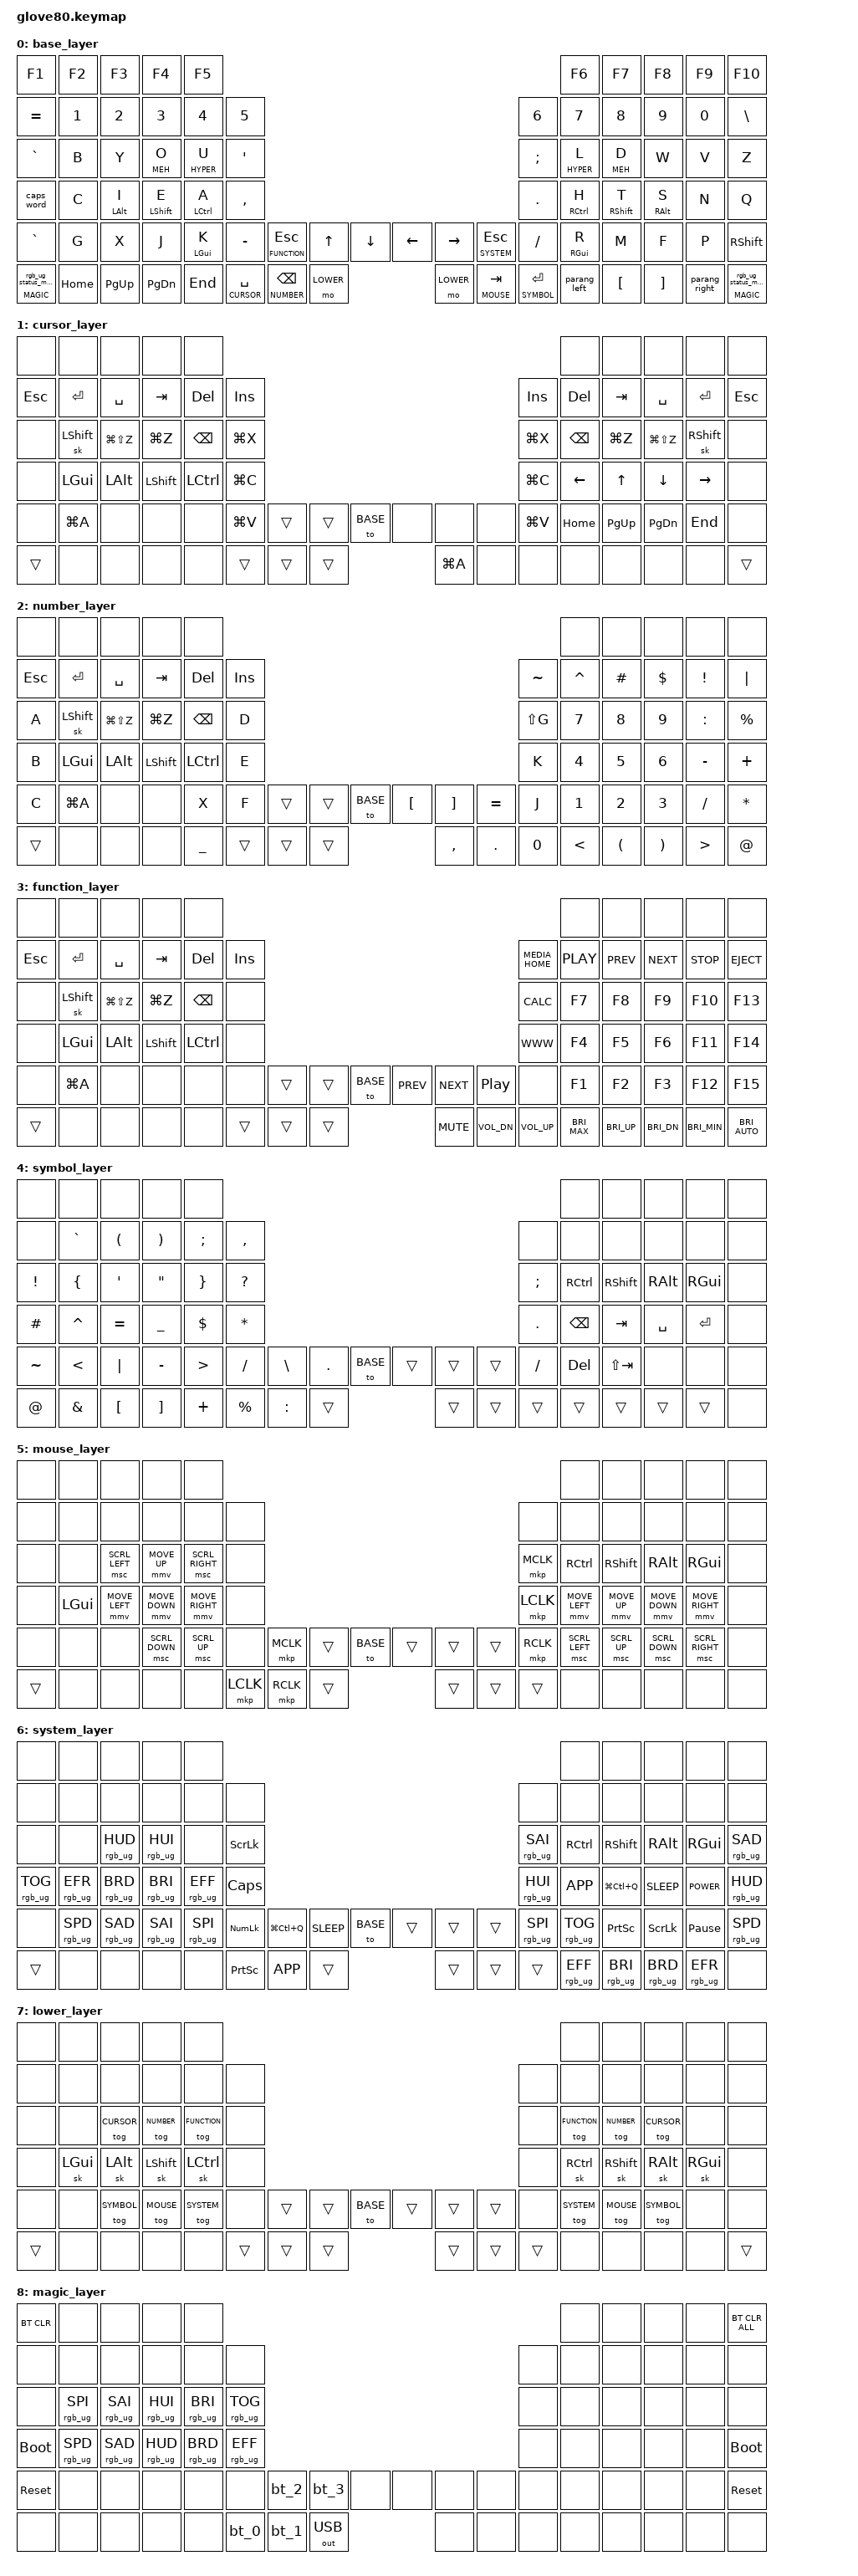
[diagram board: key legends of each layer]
#include <behaviors.dtsi>
#include <dt-bindings/zmk/keys.h>
#include <dt-bindings/zmk/bt.h>
#include <dt-bindings/zmk/ext_power.h>
#include <dt-bindings/zmk/outputs.h>
#include <dt-bindings/zmk/rgb.h>

// =============================================================================
// MOUSE KEY CONFIGURATION
// Requires ZMK with mouse key support (PR23 beta firmware)
// =============================================================================
#if __has_include(<dt-bindings/zmk/mouse.h>)
  #include <dt-bindings/zmk/mouse.h>
  #define ZMK_MOUSE_DEFAULT_MOVE_VAL 600
  #define ZMK_MOUSE_DEFAULT_SCRL_VAL 10
  #define HAS_MOUSE_KEYS 1
#else
  #define mkp none
  #define mmv none
  #define msc none
  #define LCLK
  #define MCLK
  #define RCLK
  #define MOVE_UP
  #define MOVE_DOWN
  #define MOVE_LEFT
  #define MOVE_RIGHT
  #define SCRL_UP
  #define SCRL_DOWN
  #define SCRL_LEFT
  #define SCRL_RIGHT
  #define HAS_MOUSE_KEYS 0
#endif

// =============================================================================
// MODIFIER COMBINATIONS - Swap these to change modifier chords
// =============================================================================
#define HYPER LC(LS(LG(LALT)))  // All four modifiers
#define MEH LC(LS(LALT))        // Ctrl+Shift+Alt (no GUI)

// =============================================================================
// MACOS SHORTCUTS
// =============================================================================
#define _UNDO   LG(Z)
#define _REDO   LG(LS(Z))
#define _CUT    LG(X)
#define _COPY   LG(C)
#define _PASTE  LG(V)
#define _SELALL LG(A)

// =============================================================================
// LAYERS - Reorder by changing numbers
// =============================================================================
#define BASE 0
#define CURSOR 1    // hold SPACE - navigation on right hand
#define NUMBER 2    // hold BSPC - numpad on right hand
#define FUNCTION 3  // hold ESC - F-keys, media
#define SYMBOL 4    // hold RETURN - symbols on left hand
#define MOUSE 5     // hold TAB - mouse keys on right hand
#define SYSTEM 6    // hold SYSTEM - RGB, power
#define LOWER 7     // layer access
#define MAGIC 8     // BT, bootloader

// Legacy aliases for compatibility
#define NAV CURSOR
#define SYM SYMBOL

// =============================================================================
// HOME ROW MODS - Swap modifiers by finger position
// Left hand:  ring -> index (I E A), pinky is plain
// Right hand: index -> ring (H T S), pinky is plain
// Cmd moved to below home row (K, R) to reduce pinky strain
// =============================================================================
#define HRM_L_RING  LALT        // I
#define HRM_L_MID   LSHFT       // E
#define HRM_L_INDEX LCTRL       // A

#define HRM_R_INDEX RCTRL       // H
#define HRM_R_MID   RSHFT       // T
#define HRM_R_RING  RALT        // S

// =============================================================================
// TOP ROW MODS - Above home row, hold for modifier
// Left hand:  pinky -> index (B Y O U)
// Right hand: index -> pinky (L D W V)
// Priority: protect pinkies and ring fingers, put most-used on index
// =============================================================================
#define TOP_L_PINKY NONE        // B - no mod (protect pinky)
#define TOP_L_RING  NONE        // Y - no mod (protect ring)
#define TOP_L_MID   MEH         // O - Meh (Ctrl+Shift+Alt) - less common
#define TOP_L_INDEX HYPER       // U - Hyper (Ctrl+Shift+Alt+Cmd) - most common

#define TOP_R_INDEX HYPER       // L - Hyper (Ctrl+Shift+Alt+Cmd) - most common
#define TOP_R_MID   MEH         // D - Meh (Ctrl+Shift+Alt) - less common
#define TOP_R_RING  NONE        // W - no mod (protect ring)
#define TOP_R_PINKY NONE        // V - no mod (protect pinky)

// =============================================================================
// THUMB CLUSTERS - Keycaps and layer assignments
// Left:  ESC UP DOWN    |  Right: LEFT RIGHT SYS
//        SPC BSP LOWER  |         RAISE TAB RET
// =============================================================================
// Upper arc - tap keys
#define THUMB_UL1_TAP ESC       // Left upper 1 - tap ESC
#define THUMB_UL1_HOLD FUNCTION // Left upper 1 - hold Function
#define THUMB_UL2 UP            // Left upper 2 - plain UP
#define THUMB_UL3 DOWN          // Left upper 3 - plain DOWN
#define THUMB_UR1 LEFT          // Right upper 1 - plain LEFT
#define THUMB_UR2 RIGHT         // Right upper 2 - plain RIGHT
#define THUMB_UR3_TAP ESC       // Right upper 3 - tap ESC
#define THUMB_UR3_HOLD SYSTEM   // Right upper 3 - hold System

// Lower arc - tap keys and layer holds
#define THUMB_LL1_TAP SPACE     // Left lower 1 - tap SPACE
#define THUMB_LL1_HOLD CURSOR   // Left lower 1 - hold Cursor
#define THUMB_LL2_TAP BSPC      // Left lower 2 - tap BSPC
#define THUMB_LL2_HOLD NUMBER   // Left lower 2 - hold Number
#define THUMB_LL3 LOWER         // Left lower 3 - Lower layer access
#define THUMB_LR1 LOWER         // Right lower 1 - Raise (same as Lower)
#define THUMB_LR2_TAP TAB       // Right lower 2 - tap TAB
#define THUMB_LR2_HOLD MOUSE    // Right lower 2 - hold Mouse
#define THUMB_LR3_TAP RET       // Right lower 3 - tap RETURN
#define THUMB_LR3_HOLD SYMBOL   // Right lower 3 - hold Symbol

// =============================================================================
// KEY POSITION INDICES - For positional hold-tap and combos
// Run `just keypos` to regenerate position defines from SVG
// =============================================================================
#define KEYS_L 0 1 2 3 4 10 11 12 13 14 15 22 23 24 25 26 27 34 35 36 37 38 39 46 47 48 49 50 51 52 53 54 64 65 66 67 68 69 70 71
#define KEYS_R 5 6 7 8 9 16 17 18 19 20 21 28 29 30 31 32 33 40 41 42 43 44 45 55 56 57 58 59 60 61 62 63 72 73 74 75 76 77 78 79
#define THUMBS 52 53 54 55 56 57 69 70 71 72 73 74

// Alpha key positions - generated from doc/keymap.svg
// Top row (B Y O U | L D W V)
#define POS_B 23
#define POS_Y 24
#define POS_O 25
#define POS_U 26
#define POS_L 29
#define POS_D 30
#define POS_W 31
#define POS_V 32

// Home row (C I E A | H T S N)
#define POS_C 35
#define POS_I 36
#define POS_E 37
#define POS_A 38
#define POS_H 41
#define POS_T 42
#define POS_S 43
#define POS_N 44

// Below home row (G X J K | R M F P)
#define POS_G 47
#define POS_X 48
#define POS_J 49
#define POS_K 50
#define POS_R 59
#define POS_M 60
#define POS_F 61
#define POS_P 62

// Thumb cluster positions
// Upper arc: Left 52-54, Right 55-57
#define POS_THUMB_UL1 52   // Left upper 1 (ESC/Fn)
#define POS_THUMB_UL2 53   // Left upper 2 (UP)
#define POS_THUMB_UL3 54   // Left upper 3 (DOWN)
#define POS_THUMB_UR1 55   // Right upper 1 (LEFT)
#define POS_THUMB_UR2 56   // Right upper 2 (RIGHT)
#define POS_THUMB_UR3 57   // Right upper 3 (ESC/Sys)
// Lower arc: Left 69-71, Right 72-74
#define POS_THUMB_LL1 69   // Left lower 1 (SPACE)
#define POS_THUMB_LL2 70   // Left lower 2 (BSPC)
#define POS_THUMB_LL3 71   // Left lower 3 (LOWER)
#define POS_THUMB_LR1 72   // Right lower 1 (LOWER)
#define POS_THUMB_LR2 73   // Right lower 2 (TAB)
#define POS_THUMB_LR3 74   // Right lower 3 (ENTER)

// =============================================================================
// TIMING - Base resolution and per-finger adjustments
// Inspired by sunaku's Glorious Engrammer timing research
// =============================================================================
// Base timing - increase if you get accidental holds, decrease for faster response
#define TAPPING_TERM 150

// Per-finger adjustments - slower fingers need more time
// Index fingers are fastest, pinkies are slowest
#define INDEX_TIME  (TAPPING_TERM + 30)   // 180ms - most dexterous
#define MIDDLE_TIME (TAPPING_TERM + 60)   // 210ms
#define RING_TIME   (TAPPING_TERM + 90)   // 240ms
#define PINKY_TIME  (TAPPING_TERM + 120)  // 270ms - least dexterous

// Thumb timing - fast for responsive layer switching
#define THUMB_TIME  TAPPING_TERM          // 150ms

// Streak decay - time after typing before mods can activate
// Prevents accidental mods during fast typing
#define STREAK_DECAY TAPPING_TERM         // 150ms

// Quick-tap - time window for double-tap to repeat
#define QUICK_TAP   (TAPPING_TERM + 150)  // 300ms

// =============================================================================
// COMBO TIMING - Adjust how quickly keys must be pressed together
// =============================================================================
#define COMBO_TIMEOUT 100

/ {
    behaviors {
        // =====================================================================
        // HOME ROW MODS - Per-finger timing with bilateral enforcement
        // Only activates when opposite hand is used (prevents same-hand misfires)
        // =====================================================================

        // Left hand - Index finger (fastest)
        hml_i: hml_index {
            compatible = "zmk,behavior-hold-tap";
            #binding-cells = <2>;
            flavor = "balanced";
            tapping-term-ms = <INDEX_TIME>;
            quick-tap-ms = <QUICK_TAP>;
            require-prior-idle-ms = <STREAK_DECAY>;
            bindings = <&kp>, <&kp>;
            hold-trigger-key-positions = <KEYS_R THUMBS>;
            hold-trigger-on-release;
        };

        // Left hand - Middle finger
        hml_m: hml_middle {
            compatible = "zmk,behavior-hold-tap";
            #binding-cells = <2>;
            flavor = "balanced";
            tapping-term-ms = <MIDDLE_TIME>;
            quick-tap-ms = <QUICK_TAP>;
            require-prior-idle-ms = <STREAK_DECAY>;
            bindings = <&kp>, <&kp>;
            hold-trigger-key-positions = <KEYS_R THUMBS>;
            hold-trigger-on-release;
        };

        // Left hand - Ring finger
        hml_r: hml_ring {
            compatible = "zmk,behavior-hold-tap";
            #binding-cells = <2>;
            flavor = "balanced";
            tapping-term-ms = <RING_TIME>;
            quick-tap-ms = <QUICK_TAP>;
            require-prior-idle-ms = <STREAK_DECAY>;
            bindings = <&kp>, <&kp>;
            hold-trigger-key-positions = <KEYS_R THUMBS>;
            hold-trigger-on-release;
        };

        // Left hand - Pinky finger (slowest)
        hml_p: hml_pinky {
            compatible = "zmk,behavior-hold-tap";
            #binding-cells = <2>;
            flavor = "balanced";
            tapping-term-ms = <PINKY_TIME>;
            quick-tap-ms = <QUICK_TAP>;
            require-prior-idle-ms = <STREAK_DECAY>;
            bindings = <&kp>, <&kp>;
            hold-trigger-key-positions = <KEYS_R THUMBS>;
            hold-trigger-on-release;
        };

        // Left hand - Generic (for top row, uses ring timing)
        hml: hml {
            compatible = "zmk,behavior-hold-tap";
            #binding-cells = <2>;
            flavor = "balanced";
            tapping-term-ms = <RING_TIME>;
            quick-tap-ms = <QUICK_TAP>;
            require-prior-idle-ms = <STREAK_DECAY>;
            bindings = <&kp>, <&kp>;
            hold-trigger-key-positions = <KEYS_R THUMBS>;
            hold-trigger-on-release;
        };

        // Right hand - Index finger (fastest)
        hmr_i: hmr_index {
            compatible = "zmk,behavior-hold-tap";
            #binding-cells = <2>;
            flavor = "balanced";
            tapping-term-ms = <INDEX_TIME>;
            quick-tap-ms = <QUICK_TAP>;
            require-prior-idle-ms = <STREAK_DECAY>;
            bindings = <&kp>, <&kp>;
            hold-trigger-key-positions = <KEYS_L THUMBS>;
            hold-trigger-on-release;
        };

        // Right hand - Middle finger
        hmr_m: hmr_middle {
            compatible = "zmk,behavior-hold-tap";
            #binding-cells = <2>;
            flavor = "balanced";
            tapping-term-ms = <MIDDLE_TIME>;
            quick-tap-ms = <QUICK_TAP>;
            require-prior-idle-ms = <STREAK_DECAY>;
            bindings = <&kp>, <&kp>;
            hold-trigger-key-positions = <KEYS_L THUMBS>;
            hold-trigger-on-release;
        };

        // Right hand - Ring finger
        hmr_r: hmr_ring {
            compatible = "zmk,behavior-hold-tap";
            #binding-cells = <2>;
            flavor = "balanced";
            tapping-term-ms = <RING_TIME>;
            quick-tap-ms = <QUICK_TAP>;
            require-prior-idle-ms = <STREAK_DECAY>;
            bindings = <&kp>, <&kp>;
            hold-trigger-key-positions = <KEYS_L THUMBS>;
            hold-trigger-on-release;
        };

        // Right hand - Pinky finger (slowest)
        hmr_p: hmr_pinky {
            compatible = "zmk,behavior-hold-tap";
            #binding-cells = <2>;
            flavor = "balanced";
            tapping-term-ms = <PINKY_TIME>;
            quick-tap-ms = <QUICK_TAP>;
            require-prior-idle-ms = <STREAK_DECAY>;
            bindings = <&kp>, <&kp>;
            hold-trigger-key-positions = <KEYS_L THUMBS>;
            hold-trigger-on-release;
        };

        // Right hand - Generic (for top row, uses ring timing)
        hmr: hmr {
            compatible = "zmk,behavior-hold-tap";
            #binding-cells = <2>;
            flavor = "balanced";
            tapping-term-ms = <RING_TIME>;
            quick-tap-ms = <QUICK_TAP>;
            require-prior-idle-ms = <STREAK_DECAY>;
            bindings = <&kp>, <&kp>;
            hold-trigger-key-positions = <KEYS_L THUMBS>;
            hold-trigger-on-release;
        };

        // =====================================================================
        // THUMB KEYS - Layer-tap for quick layer access
        // No bilateral enforcement - layers should work with either hand
        // =====================================================================

        // Left thumb - layer tap
        ltl: layer_tap_left {
            compatible = "zmk,behavior-hold-tap";
            #binding-cells = <2>;
            flavor = "balanced";
            tapping-term-ms = <THUMB_TIME>;
            quick-tap-ms = <QUICK_TAP>;
            bindings = <&mo>, <&kp>;
        };

        // Right thumb - layer tap
        ltr: layer_tap_right {
            compatible = "zmk,behavior-hold-tap";
            #binding-cells = <2>;
            flavor = "balanced";
            tapping-term-ms = <THUMB_TIME>;
            quick-tap-ms = <QUICK_TAP>;
            bindings = <&mo>, <&kp>;
        };

        // =====================================================================
        // SPECIAL BEHAVIORS
        // =====================================================================

        // Magic key: tap for RGB status, hold for Magic layer
        magic: magic_hold_tap {
            compatible = "zmk,behavior-hold-tap";
            #binding-cells = <2>;
            flavor = "tap-preferred";
            tapping-term-ms = <THUMB_TIME>;
            bindings = <&mo>, <&rgb_ug_status_macro>;
        };

        // Parang: tap = parenthesis, shift+tap = angle bracket
        // "parang" = parenthesis + angle
        parang_left: parang_left {
            compatible = "zmk,behavior-mod-morph";
            #binding-cells = <0>;
            bindings = <&kp LPAR>, <&kp LT>;
            mods = <(MOD_LSFT|MOD_RSFT)>;
        };

        parang_right: parang_right {
            compatible = "zmk,behavior-mod-morph";
            #binding-cells = <0>;
            bindings = <&kp RPAR>, <&kp GT>;
            mods = <(MOD_LSFT|MOD_RSFT)>;
        };
    };

    // CapsWord: types in CAPS until space/punctuation, then auto-disables
    // https://zmk.dev/docs/behaviors/caps-word
    caps_word {
        continue-list = <UNDERSCORE MINUS BSPC DEL>;
    };

    // =========================================================================
    // COMBOS - Thumb-only combos for ergonomics (no lateral finger strain)
    // =========================================================================
    combos {
        compatible = "zmk,combos";

        // ---- App Switching ----
        // ESC + SPACE (left thumb vertical chord) = App switcher
        // Holds Cmd, taps Tab, activates NAV layer for arrow navigation
        // Release combo to select app
        combo_app_switch {
            timeout-ms = <COMBO_TIMEOUT>;
            key-positions = <POS_THUMB_UL1 POS_THUMB_LL1>;
            bindings = <&app_switcher>;
        };

        // ---- Quick Launch ----
        // ESC/Sys + ENTER (right thumb vertical chord) = Launchbar (Meh+L)
        combo_launchbar {
            timeout-ms = <COMBO_TIMEOUT>;
            key-positions = <POS_THUMB_UR3 POS_THUMB_LR3>;
            bindings = <&launchbar>;
        };

        // TAB + ENTER (right thumb lower) = Screenshot (Cmd+Shift+4)
        combo_screenshot {
            timeout-ms = <COMBO_TIMEOUT>;
            key-positions = <POS_THUMB_LR2 POS_THUMB_LR3>;
            bindings = <&screenshot>;
        };

        // SPACE + BSPC (left thumb lower) = Home Row (Cmd+Opt+Ctrl+/)
        combo_homerow {
            timeout-ms = <COMBO_TIMEOUT>;
            key-positions = <POS_THUMB_LL1 POS_THUMB_LL2>;
            bindings = <&homerow>;
        };

        // ---- Sticky Modifiers ----
        // K + R (both index fingers below home) = Sticky Cmd
        // Tap combo, release, then next key gets Cmd applied
        combo_sticky_cmd {
            timeout-ms = <COMBO_TIMEOUT>;
            key-positions = <POS_K POS_R>;
            bindings = <&sk LGUI>;
        };
    };

    macros {
        // Hyper+Space macro for Raycast/Alfred
        hyper_space: hyper_space {
            compatible = "zmk,behavior-macro";
            #binding-cells = <0>;
            bindings = <&kp LC(LS(LG(LA(SPACE))))>;
        };

        // Launchbar: Meh+L (Ctrl+Shift+Alt+L)
        launchbar: launchbar {
            compatible = "zmk,behavior-macro";
            #binding-cells = <0>;
            bindings = <&kp LC(LS(LA(L)))>;
        };

        // Screenshot: Cmd+Shift+4
        screenshot: screenshot {
            compatible = "zmk,behavior-macro";
            #binding-cells = <0>;
            bindings = <&kp LG(LS(N4))>;
        };

        // Home Row: Cmd+Opt+Ctrl+/
        homerow: homerow {
            compatible = "zmk,behavior-macro";
            #binding-cells = <0>;
            bindings = <&kp LG(LA(LC(FSLH)))>;
        };

        // App switcher: Hold Cmd, tap Tab, activate NAV layer for arrows
        // Release combo to select app and release Cmd
        // Inspired by sunaku's mod_tab_chord
        app_switcher: app_switcher {
            compatible = "zmk,behavior-macro";
            wait-ms = <0>;
            tap-ms = <0>;
            #binding-cells = <0>;
            bindings
                = <&macro_press &mo NAV>
                , <&macro_press &kp LGUI>
                , <&macro_tap &kp TAB>
                , <&macro_pause_for_release>
                , <&macro_release &kp LGUI>
                , <&macro_release &mo NAV>
                ;
        };

        rgb_ug_status_macro: rgb_ug_status_macro {
            compatible = "zmk,behavior-macro";
            #binding-cells = <0>;
            bindings = <&rgb_ug RGB_STATUS>;
        };

        bt_0: bt_0 {
            compatible = "zmk,behavior-macro";
            #binding-cells = <0>;
            bindings = <&out OUT_BLE>, <&bt BT_SEL 0>;
        };

        bt_1: bt_1 {
            compatible = "zmk,behavior-macro";
            #binding-cells = <0>;
            bindings = <&out OUT_BLE>, <&bt BT_SEL 1>;
        };

        bt_2: bt_2 {
            compatible = "zmk,behavior-macro";
            #binding-cells = <0>;
            bindings = <&out OUT_BLE>, <&bt BT_SEL 2>;
        };

        bt_3: bt_3 {
            compatible = "zmk,behavior-macro";
            #binding-cells = <0>;
            bindings = <&out OUT_BLE>, <&bt BT_SEL 3>;
        };
    };

    keymap {
        compatible = "zmk,keymap";

        base_layer {
            // Engrammer layout with home row mods and thumb clusters
            // https://github.com/sunaku/engrammer
            // ---------------------------------------------------------------------------------------------------------------------------------
            // |  F1   |  F2 |  F3 |  F4  |  F5  |                                                               |  F6   |  F7   |  F8  |   F9  |  F10 |
            // |  =    |  1  |  2  |  3   |  4   |  5   |                                                 |  6   |   7   |   8   |  9   |   0   |   \  |
            // |  `    |  B  |  Y  |O/Meh |U/Hyp |  '   |                                                 |  ;   |L/Hyp  |D/Meh  |  W   |   V   |   Z  |
            // | CAPS  |C/Cmd|I/Alt|E/Shft|A/Ctrl|  ,   |                                                 |  .   |H/Ctrl|T/Shft |S/Alt |N/Cmd  |   Q  |
            // |   `   |  G  |  X  |  J   |  K   |  -   |  ESC  |  UP   | DOWN  | | LEFT  | RIGHT |  ESC  |  /   |   R   |   M   |  F   |   P   | SHIFT|
            // | MAGIC | HOME| PGUP| PGDN | END  |      | SPACE | BSPC  |NAV/TAB| |SYM/TAB|  TAB  | ENTER |      |  (/\< |   [   |  ]   |  )/\> | MAGIC|

            bindings = <
            &kp F1         &kp F2            &kp F3            &kp F4            &kp F5                                                                                                              &kp F6    &kp F7            &kp F8            &kp F9            &kp F10
            &kp EQUAL      &kp N1            &kp N2            &kp N3            &kp N4            &kp N5                                                                                    &kp N6  &kp N7    &kp N8            &kp N9            &kp N0            &kp BSLH
            &kp GRAVE      &kp B             &kp Y             &hml_m TOP_L_MID O &hml_i TOP_L_INDEX U &kp SQT                                                                              &kp SEMI &hmr_i TOP_R_INDEX L &hmr_m TOP_R_MID D &kp W              &kp V              &kp Z
            &caps_word     &kp C                &hml_r HRM_L_RING I &hml_m HRM_L_MID E &hml_i HRM_L_INDEX A &kp COMMA                                                                            &kp DOT  &hmr_i HRM_R_INDEX H &hmr_m HRM_R_MID T &hmr_r HRM_R_RING S &kp N                &kp Q
            &kp GRAVE      &kp G             &kp X             &kp J             &hml_i LGUI K     &kp MINUS &ltl THUMB_UL1_HOLD THUMB_UL1_TAP &kp THUMB_UL2 &kp THUMB_UL3 &kp THUMB_UR1 &kp THUMB_UR2 &ltr THUMB_UR3_HOLD THUMB_UR3_TAP &kp FSLH &hmr_i RGUI R    &kp M             &kp F             &kp P             &kp RSHFT
            &magic MAGIC 0 &kp HOME          &kp PG_UP         &kp PG_DN         &kp END                     &ltl THUMB_LL1_HOLD THUMB_LL1_TAP &ltl THUMB_LL2_HOLD THUMB_LL2_TAP &mo THUMB_LL3 &mo THUMB_LR1 &ltr THUMB_LR2_HOLD THUMB_LR2_TAP &ltr THUMB_LR3_HOLD THUMB_LR3_TAP       &parang_left &kp LBKT       &kp RBKT          &parang_right     &magic MAGIC 0
            >;
        };

        // Layer 1: CURSOR - hold SPACE - navigation on RIGHT hand
        // Vim-style: arrows on home row (LEFT, UP, DOWN, RIGHT on H, T, S, N positions)
        // Left hand: editing shortcuts (undo/redo/cut/copy/paste)
        cursor_layer {
            bindings = <
            &none          &none          &none          &none          &none                                                                                                         &none        &none        &none        &none        &none
            &kp ESC        &kp RET        &kp SPACE      &kp TAB        &kp DEL        &kp INS                                                                            &kp INS    &kp DEL      &kp TAB      &kp SPACE    &kp RET      &kp ESC
            &none          &sk LSHFT      &kp _REDO      &kp _UNDO      &kp BSPC       &kp _CUT                                                                           &kp _CUT   &kp BSPC     &kp _UNDO    &kp _REDO    &sk RSHFT    &none
            &none          &kp LGUI       &kp LALT       &kp LSHFT      &kp LCTRL      &kp _COPY                                                                          &kp _COPY  &kp LEFT     &kp UP       &kp DOWN     &kp RIGHT    &none
            &none          &kp _SELALL    &none          &none          &none          &kp _PASTE &trans     &trans     &to BASE   &none      &none      &none            &kp _PASTE &kp HOME     &kp PG_UP    &kp PG_DN    &kp END      &none
            &trans         &none          &none          &none          &none                     &trans     &trans     &trans     &kp _SELALL &none     &none                        &none        &none        &none        &none        &trans
            >;
        };

        // Layer 2: NUMBER - hold BSPC - numpad on RIGHT hand
        // Left hand: hex digits A-F, editing
        // Right hand: numpad with operators
        number_layer {
            bindings = <
            &none          &none          &none          &none          &none                                                                                                         &none        &none        &none        &none        &none
            &kp ESC        &kp RET        &kp SPACE      &kp TAB        &kp DEL        &kp INS                                                                            &kp TILDE  &kp CARET    &kp HASH     &kp DLLR     &kp EXCL     &kp PIPE
            &kp A          &sk LSHFT      &kp _REDO      &kp _UNDO      &kp BSPC       &kp D                                                                              &kp LS(G)  &kp N7       &kp N8       &kp N9       &kp COLON    &kp PRCNT
            &kp B          &kp LGUI       &kp LALT       &kp LSHFT      &kp LCTRL      &kp E                                                                              &kp K      &kp N4       &kp N5       &kp N6       &kp MINUS    &kp PLUS
            &kp C          &kp _SELALL    &none          &none          &kp X          &kp F      &trans     &trans     &to BASE   &kp LBKT   &kp RBKT   &kp EQUAL        &kp J      &kp N1       &kp N2       &kp N3       &kp FSLH     &kp ASTRK
            &trans         &none          &none          &none          &kp UNDER                 &trans     &trans     &trans     &kp COMMA  &kp DOT    &kp N0                       &kp LT       &kp LPAR     &kp RPAR     &kp GT       &kp AT
            >;
        };

        // Layer 3: FUNCTION - hold ESC - F-keys, media
        // Left hand: editing with modifiers
        // Right hand: F-keys (numpad layout) and media controls
        function_layer {
            bindings = <
            &none          &none          &none          &none          &none                                                                                                         &none        &none        &none        &none        &none
            &kp ESC        &kp RET        &kp SPACE      &kp TAB        &kp DEL        &kp INS                                                                            &kp C_MEDIA_HOME &kp C_PLAY &kp C_PREV &kp C_NEXT   &kp C_STOP   &kp C_EJECT
            &none          &sk LSHFT      &kp _REDO      &kp _UNDO      &kp BSPC       &none                                                                              &kp K_CALC &kp F7       &kp F8       &kp F9       &kp F10      &kp F13
            &none          &kp LGUI       &kp LALT       &kp LSHFT      &kp LCTRL      &none                                                                              &kp K_WWW  &kp F4       &kp F5       &kp F6       &kp F11      &kp F14
            &none          &kp _SELALL    &none          &none          &none          &none      &trans     &trans     &to BASE   &kp C_PREV &kp C_NEXT &kp C_PP         &none      &kp F1       &kp F2       &kp F3       &kp F12      &kp F15
            &trans         &none          &none          &none          &none                     &trans     &trans     &trans     &kp C_MUTE &kp C_VOL_DN &kp C_VOL_UP                &kp C_BRI_MAX &kp C_BRI_UP &kp C_BRI_DN &kp C_BRI_MIN &kp C_BRI_AUTO
            >;
        };

        // Layer 4: SYMBOL - hold RETURN - symbols on LEFT hand
        // Left hand: programming symbols in logical groups
        // Right hand: modifiers for chording
        symbol_layer {
            bindings = <
            &none          &none          &none          &none          &none                                                                                                         &none        &none        &none        &none        &none
            &none          &kp GRAVE      &kp LPAR       &kp RPAR       &kp SEMI       &kp COMMA                                                                          &none       &none        &none        &none        &none        &none
            &kp EXCL       &kp LBRC       &kp SQT        &kp DQT        &kp RBRC       &kp QMARK                                                                          &kp SEMI    &kp RCTRL    &kp RSHFT    &kp RALT     &kp RGUI     &none
            &kp HASH       &kp CARET      &kp EQUAL      &kp UNDER      &kp DLLR       &kp ASTRK                                                                          &kp DOT     &kp BSPC     &kp TAB      &kp SPACE    &kp RET      &none
            &kp TILDE      &kp LT         &kp PIPE       &kp MINUS      &kp GT         &kp FSLH   &kp BSLH   &kp DOT    &to BASE   &trans     &trans     &trans            &kp FSLH    &kp DEL      &kp LS(TAB)  &none        &none        &none
            &kp AT         &kp AMPS       &kp LBKT       &kp RBKT       &kp PLUS                  &kp PRCNT  &kp COLON  &trans     &trans     &trans     &trans                        &trans       &trans       &trans       &trans       &none
            >;
        };

        // Layer 5: MOUSE - hold TAB - mouse keys on RIGHT hand
        // Left hand: scroll wheel, modifiers for drag operations
        // Right hand: mouse movement and clicks
        mouse_layer {
            bindings = <
            &none          &none          &none          &none          &none                                                                                                         &none        &none        &none        &none        &none
            &none          &none          &none          &none          &none          &none                                                                              &none       &none        &none        &none        &none        &none
            &none          &none          &msc SCRL_LEFT &mmv MOVE_UP   &msc SCRL_RIGHT &none                                                                             &mkp MCLK   &kp RCTRL    &kp RSHFT    &kp RALT     &kp RGUI     &none
            &none          &kp LGUI       &mmv MOVE_LEFT &mmv MOVE_DOWN &mmv MOVE_RIGHT &none                                                                             &mkp LCLK   &mmv MOVE_LEFT &mmv MOVE_UP &mmv MOVE_DOWN &mmv MOVE_RIGHT &none
            &none          &none          &none          &msc SCRL_DOWN &msc SCRL_UP   &none      &mkp MCLK  &trans     &to BASE   &trans     &trans     &trans            &mkp RCLK   &msc SCRL_LEFT &msc SCRL_UP &msc SCRL_DOWN &msc SCRL_RIGHT &none
            &trans         &none          &none          &none          &none                     &mkp LCLK  &mkp RCLK  &trans     &trans     &trans     &trans                        &none        &none        &none        &none        &none
            >;
        };

        // Layer 6: SYSTEM - hold SYSTEM key - RGB, power, locks
        // Left hand: RGB controls
        // Right hand: system functions, lock, sleep, power
        system_layer {
            bindings = <
            &none          &none          &none          &none          &none                                                                                                         &none        &none        &none        &none        &none
            &none          &none          &none          &none          &none          &none                                                                              &none       &none        &none        &none        &none        &none
            &none          &none          &rgb_ug RGB_HUD &rgb_ug RGB_HUI &none         &kp SLCK                                                                          &rgb_ug RGB_SAI &kp RCTRL  &kp RSHFT    &kp RALT     &kp RGUI     &rgb_ug RGB_SAD
            &rgb_ug RGB_TOG &rgb_ug RGB_EFR &rgb_ug RGB_BRD &rgb_ug RGB_BRI &rgb_ug RGB_EFF &kp CAPS                                                                      &rgb_ug RGB_HUI &kp K_APP  &kp LG(LC(Q)) &kp C_SLEEP &kp C_POWER  &rgb_ug RGB_HUD
            &none          &rgb_ug RGB_SPD &rgb_ug RGB_SAD &rgb_ug RGB_SAI &rgb_ug RGB_SPI &kp KP_NUM &kp LG(LC(Q)) &kp C_SLEEP &to BASE &trans   &trans     &trans        &rgb_ug RGB_SPI &rgb_ug RGB_TOG &kp PSCRN &kp SLCK   &kp PAUSE_BREAK &rgb_ug RGB_SPD
            &trans         &none          &none          &none          &none                     &kp PSCRN  &kp K_APP  &trans     &trans     &trans     &trans                        &rgb_ug RGB_EFF &rgb_ug RGB_BRI &rgb_ug RGB_BRD &rgb_ug RGB_EFR &none
            >;
        };

        // Layer 7: LOWER - layer access, toggles, sticky mods
        // Access other layers by toggle or momentary hold
        lower_layer {
            bindings = <
            &none          &none          &none          &none          &none                                                                                                         &none        &none        &none        &none        &none
            &none          &none          &none          &none          &none          &none                                                                              &none       &none        &none        &none        &none        &none
            &none          &none          &tog CURSOR    &tog NUMBER    &tog FUNCTION  &none                                                                              &none       &tog FUNCTION &tog NUMBER &tog CURSOR  &none        &none
            &none          &sk LGUI       &sk LALT       &sk LSHFT      &sk LCTRL      &none                                                                              &none       &sk RCTRL    &sk RSHFT    &sk RALT     &sk RGUI     &none
            &none          &none          &tog SYMBOL    &tog MOUSE     &tog SYSTEM    &none      &trans     &trans     &to BASE   &trans     &trans     &trans            &none       &tog SYSTEM  &tog MOUSE   &tog SYMBOL  &none        &none
            &trans         &none          &none          &none          &none                     &trans     &trans     &trans     &trans     &trans     &trans                        &none        &none        &none        &none        &trans
            >;
        };

        // Layer 8: MAGIC - BT profiles, bootloader
        magic_layer {
            bindings = <
            &bt BT_CLR     &none          &none          &none          &none                                                                                                         &none        &none        &none        &none        &bt BT_CLR_ALL
            &none          &none          &none          &none          &none          &none                                                                              &none       &none        &none        &none        &none        &none
            &none          &rgb_ug RGB_SPI &rgb_ug RGB_SAI &rgb_ug RGB_HUI &rgb_ug RGB_BRI &rgb_ug RGB_TOG                                                                 &none       &none        &none        &none        &none        &none
            &bootloader    &rgb_ug RGB_SPD &rgb_ug RGB_SAD &rgb_ug RGB_HUD &rgb_ug RGB_BRD &rgb_ug RGB_EFF                                                                 &none       &none        &none        &none        &none        &bootloader
            &sys_reset     &none          &none          &none          &none          &none      &bt_2      &bt_3      &none      &none      &none      &none             &none       &none        &none        &none        &none        &sys_reset
            &none          &none          &none          &none          &none                     &bt_0      &bt_1      &out OUT_USB &none    &none      &none                         &none        &none        &none        &none        &none
            >;
        };
    };
};
